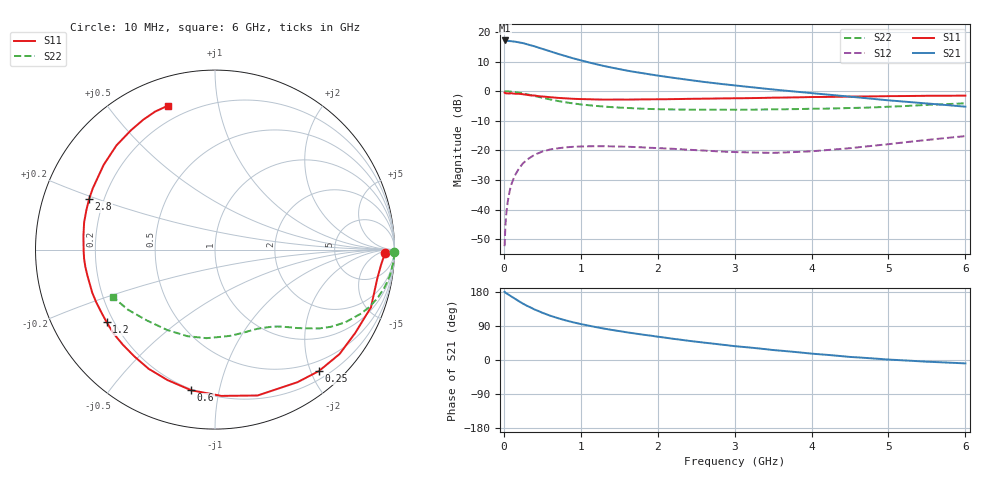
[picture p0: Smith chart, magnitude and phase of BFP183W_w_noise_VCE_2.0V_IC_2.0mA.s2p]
! Infineon Technologies  Discrete & RF Semiconductors
! BFP183W
! VCE =  2.0 V,  IC =  2.0 mA
! Common Emitter S-Parameters:  Jan 2017
# GHz  S  MA  R  50
!  f  S11  S21  S12  S22
! GHz  MAG  ANG  MAG  ANG  MAG  ANG  MAG  ANG
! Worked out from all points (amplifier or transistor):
!   77 points, 10 MHz to 6 GHz, reference 50 ohm
!   highest |S21| = 17.2 dB at 10 MHz (marker M1)
!   |S21| within 3 dB of that: start of sweep to 520.4 MHz
!   unconditionally stable (mu >= 1): 2.798 GHz to 5.133 GHz
!   at 130 MHz: K = 0.05, MSG = 23.1 dB, |S12| = -29.3 dB
!   at 2.2 GHz: K = 0.79, MSG = 12.0 dB, |S12| = -19.5 dB
!   at 6 GHz: K = 0.85, MSG = 5.0 dB, |S12| = -15.2 dB
!   lowest NFmin = 0.76 dB at 450 MHz
!   S11 on the Smith chart (normalised r, x): 10 MHz: 31, -13; 250 MHz: 0.33, -2.13; 600 MHz: 0.19, -0.83; 1.2 GHz: 0.17, -0.30; 2.8 GHz: 0.14, +0.19; 6 GHz: 0.13, +0.72
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0.01  0.9469 -1.3  7.234 180.0  0.0024 86.7  1 -0.9
0.02  0.9288 -5.3  7.21 177.7  0.0052 89.7  0.9993 -1.8
0.03  0.9247 -6.9  7.179 176.4  0.0079 86.2  0.9976 -2.7
0.08  0.9197 -16.2  7.056 170.0  0.0216 79.9  0.9882 -6.9
0.15  0.9089 -30.7  6.891 161.0  0.039 72.6  0.9668 -12.8
0.25  0.8906 -49.4  6.514 148.6  0.0606 62.8  0.9191 -20.2
0.3  0.8701 -58.1  6.25 143.1  0.0694 57.5  0.8903 -23.5
0.4  0.8468 -73.7  5.757 133.2  0.0843 49.5  0.832 -29.1
0.5  0.8158 -87.5  5.221 124.7  0.0956 42.4  0.7768 -33.6
0.6  0.7949 -99.6  4.75 117.1  0.1036 36.7  0.728 -37.1
0.7  0.7736 -110.0  4.31 110.6  0.1084 31.6  0.6856 -39.8
0.8  0.7602 -119.1  3.948 104.7  0.1124 28.0  0.6519 -42.2
0.9  0.7457 -127.1  3.613 99.5  0.115 24.6  0.6234 -44.4
1.1  0.7336 -140.4  3.089 90.8  0.1172 19.2  0.5815 -47.8
1.2  0.7268 -146.2  2.87 86.7  0.1177 16.7  0.5647 -49.4
1.6  0.7234 -164.8  2.236 73.0  0.1153 10.9  0.5229 -55.9
2.1  0.7334 177.2  1.766 58.9  0.1079 8.2  0.4947 -65.0
2.8  0.7562 158.0  1.342 41.3  0.096 10.3  0.488 -79.7
3.1  0.7632 151.1  1.217 34.7  0.0931 13.8  0.4871 -86.3
4.1  0.8005 131.8  0.905 15.2  0.0989 30.4  0.5072 -110.4
5.1  0.8285 117.8  0.686 0.1  0.1319 40.1  0.5542 -136.3
6  0.8438 108.0  0.549 -9.0  0.1742 39.7  0.6268 -155.0
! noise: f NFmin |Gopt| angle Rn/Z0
0.45  0.76  0.48  45  0.22
0.9  0.95  0.41  86  0.19
1.9  1.77  0.52  156  0.09
2.4  2.08  0.55  173  0.09
